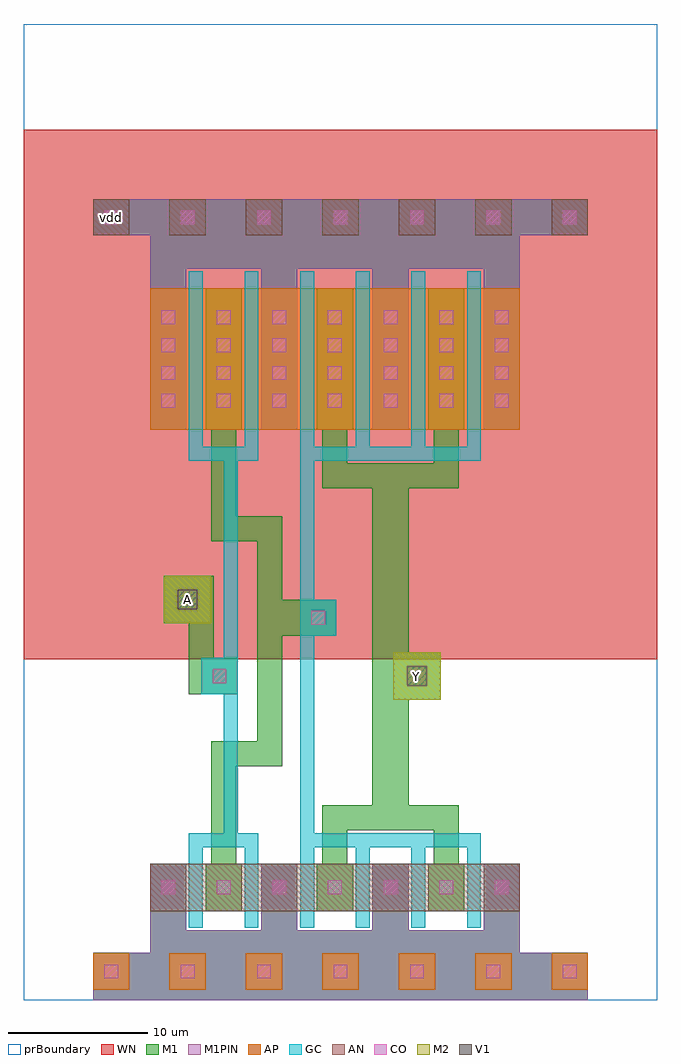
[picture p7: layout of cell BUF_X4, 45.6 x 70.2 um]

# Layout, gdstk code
import gdstk
lib = gdstk.Library(unit=1e-6, precision=1e-09)
def R(c, l, rs):  # rectangles x0, y0, x1, y1
    for r in rs: c.add(gdstk.rectangle(r[:2], r[2:], *l))
def A(c, l, x, y, w, h, nx, ny, dx, dy):  # array of equal rectangles
    R(c, l, [(x+i*dx, y+j*dy, x+i*dx+w, y+j*dy+h) for i in range(nx) for j in range(ny)])
def P(c, l, *ps):  # polygons
    for p in ps: c.add(gdstk.Polygon(p, *l))
AP = (3, 1)
AN = (3, 2)
GC = (8, 1)
CO = (11, 0)
M1 = (13, 0)
V1 = (19, 0)
M2 = (20, 0)
M1PIN = (48, 1)
WN = (140, 0)
prBoundary = (235, 4)

buf_x4 = lib.new_cell('BUF_X4')
A(buf_x4, AP, 5, 0.75, 2.6, 2.6, 7, 1, 5.5, 0)
R(buf_x4, AP, [(9.1,41,35.7,51.2)])
A(buf_x4, AN, 5, 55, 2.6, 2.6, 7, 1, 5.5, 0)
R(buf_x4, AN, [(9.1,6.4,35.7,9.8)])
P(buf_x4, GC, [(11.9,5.2),(11.9,12),(14.4,12),(14.4,22),(12.8,22),(12.8,24.6),(14.4,24.6),(14.4,38.8),(11.9,38.8),(11.9,52.4),(12.9,52.4),(12.9,39.8),(15.9,39.8),(15.9,52.4),(16.9,52.4),(16.9,38.8),(15.4,38.8),(15.4,12),(16.9,12),(16.9,5.2),(15.9,5.2),(15.9,11),(12.9,11),(12.9,5.2)],
  [(19.9,5.2),(19.9,52.4),(20.9,52.4),(20.9,39.8),(23.9,39.8),(23.9,52.4),(24.9,52.4),(24.9,39.8),(27.9,39.8),(27.9,52.4),(28.9,52.4),(28.9,39.8),(31.9,39.8),(31.9,52.4),(32.9,52.4),(32.9,38.8),(20.9,38.8),(20.9,28.8),(22.5,28.8),(22.5,26.2),(20.9,26.2),(20.9,12),(32.9,12),(32.9,5.2),(31.9,5.2),(31.9,11),(28.9,11),(28.9,5.2),(27.9,5.2),(27.9,11),(24.9,11),(24.9,5.2),(23.9,5.2),(23.9,11),(20.9,11),(20.9,5.2)])
A(buf_x4, CO, 5.8, 1.55, 1, 1, 7, 2, 5.5, 54.25)
A(buf_x4, CO, 9.9, 7.6, 1, 1, 3, 2, 4, 35)
A(buf_x4, CO, 17.9, 7.6, 1, 1, 5, 2, 4, 35)
A(buf_x4, CO, 9.9, 44.6, 1, 1, 3, 3, 4, 2)
A(buf_x4, CO, 17.9, 44.6, 1, 1, 5, 3, 4, 2)
R(buf_x4, CO, [(13.6,22.8,14.6,23.8), (20.7,27,21.7,28)])
R(buf_x4, M1, [(5,2.6,9.1,3.4), (35.7,2.6,40.6,3.4)])
P(buf_x4, M1, [(5,0),(5,2.6),(9.1,2.6),(9.1,9.8),(11.7,9.8),(11.7,5),(17.1,5),(17.1,9.8),(19.7,9.8),(19.7,5),(25.1,5),(25.1,9.8),(27.7,9.8),(27.7,5),(33.1,5),(33.1,9.8),(35.7,9.8),(35.7,2.6),(40.6,2.6),(40.6,0)],
  [(11.9,22),(11.9,27.1),(10.1,27.1),(10.1,30.5),(13.7,30.5),(13.7,24.6),(15.4,24.6),(15.4,22)],
  [(13.1,6.4),(13.1,9.8),(13.5,9.8),(13.5,18.6),(16.8,18.6),(16.8,33),(13.5,33),(13.5,41),(13.1,41),(13.1,51.2),(15.7,51.2),(15.7,41),(15.3,41),(15.3,34.8),(18.6,34.8),(18.6,28.8),(22.5,28.8),(22.5,26.2),(18.6,26.2),(18.6,16.8),(15.3,16.8),(15.3,9.8),(15.7,9.8),(15.7,6.4)],
  [(21.1,6.4),(21.1,9.8),(21.5,9.8),(21.5,14),(25.1,14),(25.1,36.8),(21.5,36.8),(21.5,41),(21.1,41),(21.1,51.2),(23.7,51.2),(23.7,41),(23.3,41),(23.3,38.6),(29.5,38.6),(29.5,41),(29.1,41),(29.1,51.2),(31.7,51.2),(31.7,41),(31.3,41),(31.3,36.8),(27.7,36.8),(27.7,25),(30,25),(30,21.6),(27.7,21.6),(27.7,14),(31.3,14),(31.3,9.8),(31.7,9.8),(31.7,6.4),(29.1,6.4),(29.1,9.8),(29.5,9.8),(29.5,12.2),(23.3,12.2),(23.3,9.8),(23.7,9.8),(23.7,6.4)],
  [(9.1,41),(9.1,55),(5,55),(5,57.6),(40.6,57.6),(40.6,55),(35.7,55),(35.7,41),(33.1,41),(33.1,52.6),(27.7,52.6),(27.7,41),(25.1,41),(25.1,52.6),(19.7,52.6),(19.7,41),(17.1,41),(17.1,52.6),(11.7,52.6),(11.7,41)])
R(buf_x4, V1, [(27.6,22.6,29,24), (11.1,28.1,12.5,29.5)])
R(buf_x4, M2, [(26.6,21.6,30,25), (10.1,27.1,13.5,30.5)])
A(buf_x4, M1PIN, 9.1, 5, 2.6, 4.8, 4, 1, 8, 0)
A(buf_x4, M1PIN, 9.1, 41, 2.6, 11.6, 4, 1, 8, 0)
R(buf_x4, M1PIN, [(5,0,40.6,3.4), (9.1,3.4,35.7,5), (9.1,52.6,35.7,55), (5,55,40.6,57.6)])
R(buf_x4, WN, [(0,24.5,45.6,62.6)])
R(buf_x4, prBoundary, [(0,0,45.6,70.2)])
buf_x4.add(gdstk.Label('A', (11.8,28.8), layer=49, texttype=0))
buf_x4.add(gdstk.Label('Y', (28.3,23.3), layer=49, texttype=0))
buf_x4.add(gdstk.Label('Y', (28.3,23.3), layer=48, texttype=0))
buf_x4.add(gdstk.Label('A', (11.8,28.8), layer=48, texttype=0))
buf_x4.add(gdstk.Label('vdd', (6.3,56.3), layer=48, texttype=0))

lib.write_gds('BUF_X4.gds')
